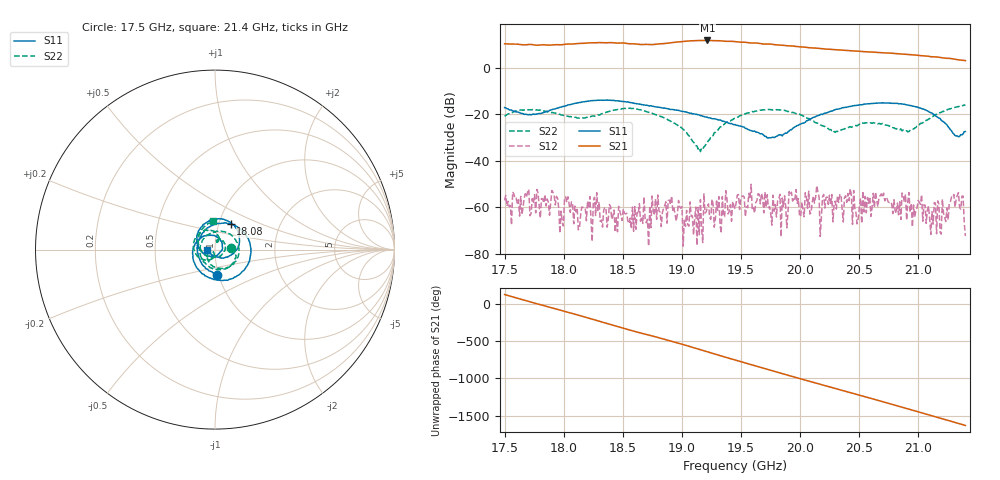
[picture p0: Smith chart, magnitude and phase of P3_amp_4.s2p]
!Created with skrf (http://scikit-rf.org).
# GHz S RI R 50.0
!freq ReS11 ImS11 ReS21 ImS21 ReS12 ImS12 ReS22 ImS22
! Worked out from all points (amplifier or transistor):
!   401 points, 17.5 GHz to 21.4 GHz, reference 50 ohm
!   highest |S21| = 11.7 dB at 19.22 GHz (marker M1)
!   |S21| within 3 dB of that: start of sweep to 20.06 GHz
!   unconditionally stable (mu >= 1): start of sweep to end of sweep
!   at 18.14 GHz: K = 208.87, MAG = 10.6 dB, |S12| = -63.2 dB
!   at 19.45 GHz: K = 146.29, MAG = 11.3 dB, |S12| = -60.7 dB
!   at 21.4 GHz: K = 1424.32, MAG = 3.2 dB, |S12| = -72.4 dB
!   S11 on the Smith chart (normalised r, x): 17.5 GHz: 0.99, -0.28; 18.08 GHz: 1.14, +0.33; 21.4 GHz: 0.92, -0.01
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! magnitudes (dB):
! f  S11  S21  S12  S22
! 17.5 GHz  -17.1  10.3  -57.0  -20.8
! 17.92 GHz  -17.8  9.9  -54.8  -19.4
! 17.98 GHz  -16.9  9.9  -61.7  -20.3
! 18.03 GHz  -16.2  10.2  -57.8  -20.7
! 18.08 GHz  -15.6  10.2  -57.9  -21.0
! 18.15 GHz  -14.7  10.5  -59.9  -21.5
! 18.72 GHz  -16.4  10.0  -76.7  -19.2
! 18.81 GHz  -17.0  10.3  -61.6  -20.6
! 18.9 GHz  -18.0  10.8  -58.8  -22.9
! 19.03 GHz  -19.0  11.4  -68.2  -27.5
! 19.22 GHz  -21.3  11.7  -59.9  -32.0
! 19.45 GHz  -24.4  11.3  -60.7  -21.7
! 19.74 GHz  -30.0  10.2  -59.7  -17.9
! 19.93 GHz  -26.7  9.4  -53.6  -19.3
! 20.02 GHz  -23.9  9.0  -57.7  -20.4
! 20.1 GHz  -21.6  8.5  -58.0  -22.7
! 20.76 GHz  -15.2  6.3  -58.0  -25.1
! 20.97 GHz  -16.7  5.5  -64.1  -25.9
! 21.01 GHz  -17.2  5.3  -57.8  -24.5
! 21.18 GHz  -21.7  4.5  -58.7  -19.4
! 21.32 GHz  -29.3  3.6  -56.4  -16.9
! 21.4 GHz  -27.4  3.1  -72.4  -16.1
